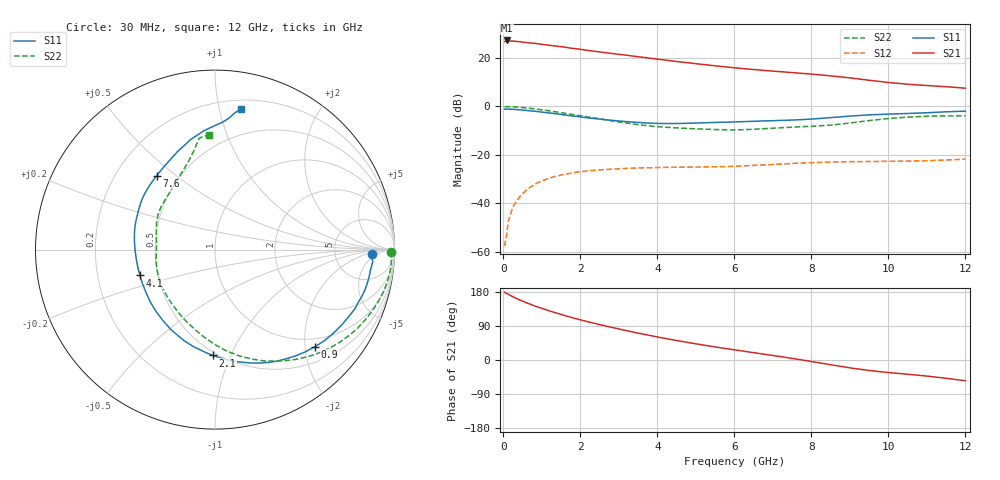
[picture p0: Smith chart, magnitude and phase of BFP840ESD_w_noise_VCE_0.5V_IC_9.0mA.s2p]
! Infineon Technologies  Discrete & RF Semiconductors
! BFP840ESD
! VCE =  0.5 V,  IC =  9.0 mA
! Common Emitter S-Parameters:  May 2012
# GHz  S  MA  R  50
!  f  S11  S21  S12  S22
! GHz  MAG  ANG  MAG  ANG  MAG  ANG  MAG  ANG
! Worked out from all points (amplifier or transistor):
!   93 points, 30 MHz to 12 GHz, reference 50 ohm
!   highest |S21| = 27.2 dB at 80 MHz (marker M1)
!   |S21| within 3 dB of that: start of sweep to 1.687 GHz
!   unconditionally stable (mu >= 1): 5.516 GHz to 11.12 GHz
!   at 1.1 GHz: K = 0.25, MSG = 27.8 dB, |S12| = -30.2 dB
!   at 4.2 GHz: K = 0.79, MSG = 22.1 dB, |S12| = -25.2 dB
!   at 12 GHz: K = 0.87, MSG = 14.6 dB, |S12| = -21.8 dB
!   lowest NFmin = 0.77 dB at 450 MHz
!   S11 on the Smith chart (normalised r, x): 30 MHz: 14, -3; 900 MHz: 0.81, -2.21; 2.1 GHz: 0.48, -0.86; 4.1 GHz: 0.40, -0.14; 7.6 GHz: 0.38, +0.43; 12 GHz: 0.27, +1.16
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0.03  0.8726 -1.7  21.62 178.7  0.0013 51.3  0.9806 -0.7
0.08  0.8813 -4.4  22.86 175.7  0.0022 58.5  0.9843 -3.1
0.13  0.8738 -7.4  22.17 173.1  0.0044 83.0  0.9854 -5.4
0.28  0.8645 -15.2  22.16 165.3  0.0094 79.9  0.9727 -12.0
0.43  0.8473 -22.6  21.6 158.2  0.0138 75.5  0.9522 -18.3
0.6  0.8208 -30.9  20.72 151.0  0.0188 69.5  0.9236 -25.2
0.9  0.7757 -44.3  19.49 139.6  0.0268 61.6  0.8665 -36.4
1.2  0.7266 -56.8  18.14 129.4  0.033 54.0  0.8032 -47.0
1.5  0.6795 -68.5  16.98 120.2  0.0382 47.1  0.7379 -56.8
1.8  0.631 -80.5  15.7 111.2  0.0422 41.4  0.6776 -66.2
2.1  0.5899 -91.0  14.62 103.4  0.0456 36.4  0.6204 -74.9
2.6  0.5347 -109.0  12.94 91.0  0.0493 29.4  0.5351 -89.0
3.1  0.4903 -126.4  11.58 79.6  0.0519 23.9  0.4626 -103.2
3.6  0.4585 -143.8  10.33 68.9  0.0537 19.1  0.4096 -118.5
4.1  0.442 -161.0  9.202 58.9  0.0548 15.6  0.3758 -134.2
5  0.4518 173.6  7.578 42.7  0.056 10.6  0.3435 -159.1
6.1  0.479 152.7  6.133 25.4  0.0583 8.1  0.3276 174.7
7.6  0.5243 128.1  4.899 2.6  0.0667 2.4  0.3749 146.8
8.5  0.5842 111.0  4.258 -12.4  0.0707 -3.2  0.4092 127.4
9.5  0.6657 95.2  3.45 -27.7  0.0725 -9.5  0.5071 107.4
10.5  0.7117 86.5  2.855 -37.6  0.0741 -13.8  0.5983 99.8
12  0.7959 79.6  2.364 -54.8  0.0811 -18.6  0.6394 93.0
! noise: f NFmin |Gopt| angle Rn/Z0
0.45  0.77  0.3  2  0.14
0.9  0.78  0.3  5  0.14
1.5  0.79  0.3  11  0.13
1.9  0.8  0.3  15  0.13
2.4  0.81  0.25  26  0.12
3.5  0.82  0.17  58  0.1
5.5  0.9  0.11  136  0.1
8  1.05  0.3  -130  0.1
10  1.2  0.46  -91  0.18
12  1.41  0.6  -72  0.27
